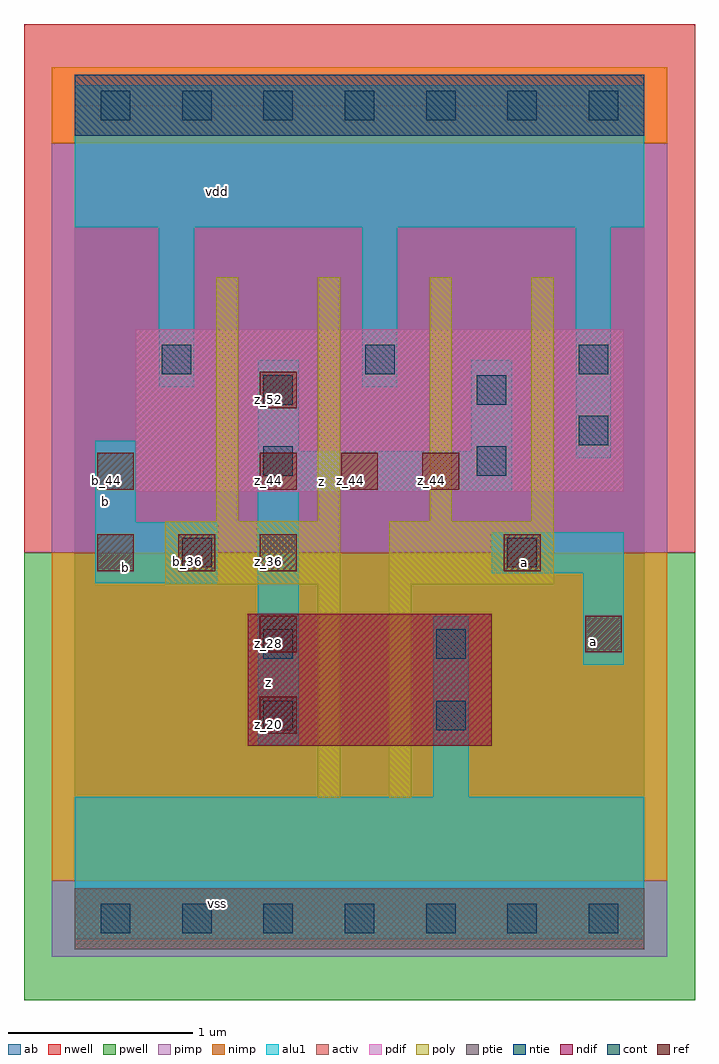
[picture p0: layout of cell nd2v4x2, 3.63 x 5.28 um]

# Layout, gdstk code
import gdstk
lib = gdstk.Library(unit=1e-6, precision=2.5e-09)
def R(c, l, rs):  # rectangles x0, y0, x1, y1
    for r in rs: c.add(gdstk.rectangle(r[:2], r[2:], *l))
def A(c, l, x, y, w, h, nx, ny, dx, dy):  # array of equal rectangles
    R(c, l, [(x+i*dx, y+j*dy, x+i*dx+w, y+j*dy+h) for i in range(nx) for j in range(ny)])
ndif = (3, 0)
pdif = (4, 0)
ntie = (5, 0)
ptie = (6, 0)
ref = (24, 0)
cont = (25, 0)
pwell = (41, 0)
nwell = (42, 0)
activ = (43, 0)
pimp = (44, 0)
nimp = (45, 0)
poly = (46, 0)
alu1 = (49, 0)
ab = (63, 0)

nd2v4x2 = lib.new_cell('nd2v4x2')
R(nd2v4x2, ndif, [(0.935,0.935,2.255,1.65)])
R(nd2v4x2, pdif, [(0.33,2.31,2.97,3.19)])
R(nd2v4x2, ntie, [(0,4.235,3.08,4.565)])
R(nd2v4x2, ptie, [(0,-0.165,3.08,0.165)])
A(nd2v4x2, ref, 0.12, 1.88, 0.2, 0.2, 3, 1, 0.44, 0)
A(nd2v4x2, ref, 1, 2.32, 0.2, 0.2, 3, 1, 0.44, 0)
R(nd2v4x2, ref, [(1,1,1.2,1.2), (1,1.44,1.2,1.64), (2.76,1.44,2.96,1.64), (2.32,1.88,2.52,2.08), (0.12,2.32,0.32,2.52), (1,2.76,1.2,2.96)])
A(nd2v4x2, cont, 0.14, -0.08, 0.16, 0.16, 7, 2, 0.44, 4.4)
R(nd2v4x2, cont, [(1.02,1.02,1.18,1.18), (1.955,1.02,2.115,1.18), (1.02,1.405,1.18,1.565), (1.955,1.405,2.115,1.565), (0.58,1.9,0.74,2.06), (2.34,1.9,2.5,2.06), (1.02,2.395,1.18,2.555), (2.175,2.395,2.335,2.555), (2.725,2.56,2.885,2.72), (1.02,2.78,1.18,2.94), (2.175,2.78,2.335,2.94), (0.47,2.945,0.63,3.105), (1.57,2.945,1.73,3.105), (2.725,2.945,2.885,3.105)])
R(nd2v4x2, pwell, [(-0.275,-0.44,3.355,1.98)])
R(nd2v4x2, nwell, [(-0.275,1.98,3.355,4.84)])
R(nd2v4x2, activ, [(0,-0.165,3.08,0.165), (0.935,0.935,2.255,1.65), (0.33,2.31,2.97,3.19), (0,4.235,3.08,4.565)])
R(nd2v4x2, pimp, [(-0.125,-0.205,3.205,0.205), (-0.125,1.98,3.205,4.195)])
R(nd2v4x2, nimp, [(-0.125,0.205,3.205,1.98), (-0.125,4.195,3.205,4.605)])
R(nd2v4x2, poly, [(1.315,0.655,1.435,1.81), (1.7,0.655,1.82,1.81), (0.49,1.81,1.435,2.15), (1.7,1.81,2.59,2.15), (0.765,2.15,0.885,3.47), (1.315,2.15,1.435,3.47), (1.92,2.15,2.04,3.47), (2.47,2.15,2.59,3.47)])
R(nd2v4x2, alu1, [(0,-0.11,3.08,0.66), (1.94,0.66,2.13,1.635), (0.99,0.935,1.21,2.31), (2.75,1.375,2.97,1.87), (0.11,1.815,0.77,2.145), (2.255,1.87,2.97,2.09), (0.11,2.145,0.33,2.585), (0.99,2.31,2.365,2.53), (2.71,2.49,2.9,3.74), (0.99,2.53,1.21,3.025), (2.145,2.53,2.365,3.025), (0.455,2.875,0.645,3.74), (1.555,2.875,1.745,3.74), (0,3.74,3.08,4.51)])
R(nd2v4x2, ab, [(0,0,3.08,4.4)])
nd2v4x2.add(gdstk.Label('vss', (0.77,0.0825), layer=49, texttype=0))
nd2v4x2.add(gdstk.Label('a', (2.805,1.4975), layer=49, texttype=0))
nd2v4x2.add(gdstk.Label('a', (2.4325,1.925), layer=49, texttype=0))
nd2v4x2.add(gdstk.Label('z', (1.045,1.2775), layer=49, texttype=0))
nd2v4x2.add(gdstk.Label('b', (0.275,1.8975), layer=49, texttype=0))
nd2v4x2.add(gdstk.Label('z', (1.3325,2.365), layer=49, texttype=0))
nd2v4x2.add(gdstk.Label('b', (0.165,2.255), layer=49, texttype=0))
nd2v4x2.add(gdstk.Label('vdd', (0.77,3.9325), layer=49, texttype=0))
nd2v4x2.add(gdstk.Label('z_20', (1.05,1.05), layer=24, texttype=0))
nd2v4x2.add(gdstk.Label('z_44', (1.93,2.37), layer=24, texttype=0))
nd2v4x2.add(gdstk.Label('z_44', (1.49,2.37), layer=24, texttype=0))
nd2v4x2.add(gdstk.Label('a_28', (2.81,1.49), layer=24, texttype=0))
nd2v4x2.add(gdstk.Label('a_36', (2.37,1.93), layer=24, texttype=0))
nd2v4x2.add(gdstk.Label('b_44', (0.17,2.37), layer=24, texttype=0))
nd2v4x2.add(gdstk.Label('b_36', (0.61,1.93), layer=24, texttype=0))
nd2v4x2.add(gdstk.Label('b_36', (0.17,1.93), layer=24, texttype=0))
nd2v4x2.add(gdstk.Label('z_44', (1.05,2.37), layer=24, texttype=0))
nd2v4x2.add(gdstk.Label('z_28', (1.05,1.49), layer=24, texttype=0))
nd2v4x2.add(gdstk.Label('z_36', (1.05,1.93), layer=24, texttype=0))
nd2v4x2.add(gdstk.Label('z_52', (1.05,2.81), layer=24, texttype=0))

lib.write_gds('nd2v4x2.gds')
